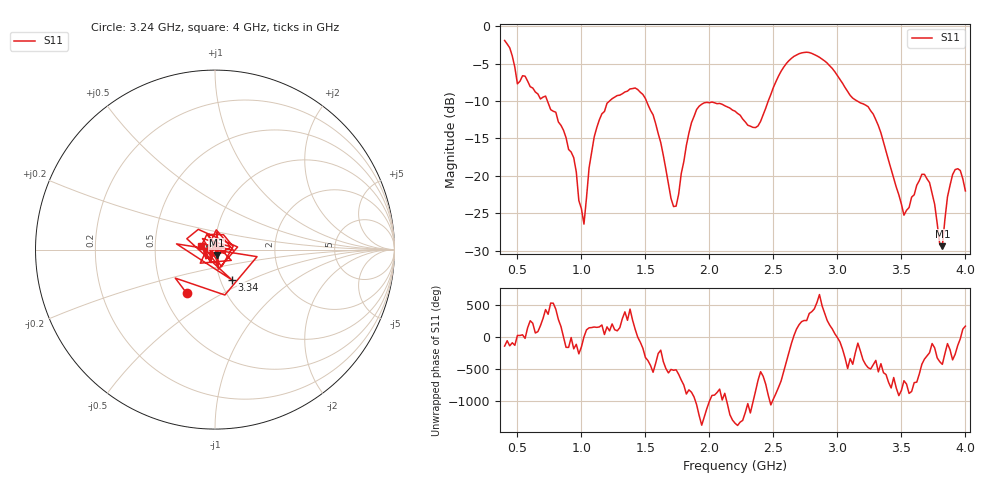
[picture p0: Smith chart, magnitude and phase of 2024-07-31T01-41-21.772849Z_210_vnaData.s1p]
!Created with skrf (http://scikit-rf.org).
# Hz S RI R 50.0
!freq ReS11 ImS11
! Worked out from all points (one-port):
!   181 points, 400 MHz to 4 GHz, reference 50 ohm
!   lowest |S11| = -29.4 dB at 3.82 GHz (marker M1), VSWR 1.07, Z = 51 - j3.28 ohm
!   |S11| at or under -10 dB: 734.7 MHz to 1.219 GHz (484.2 MHz wide, 49.6 % of centre); 1.508 GHz to 2.459 GHz (951.1 MHz wide, 47.9 % of centre); 3.156 GHz to end of sweep
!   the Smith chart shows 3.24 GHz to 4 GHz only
!   S11 on the Smith chart (normalised r, x): 3.24 GHz: 0.65, -0.35; 3.34 GHz: 1.13, -0.40; 4 GHz: 0.86, +0.04
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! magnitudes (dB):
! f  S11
! 400 MHz  -1.9
! 500 MHz  -7.7
! 720 MHz  -9.3
! 860 MHz  -13.9
! 940 MHz  -17.6
! 1.02 GHz  -26.4
! 1.06 GHz  -18.9
! 1.12 GHz  -13.5
! 1.3 GHz  -9.2
! 1.5 GHz  -9.7
! 1.62 GHz  -15.5
! 1.72 GHz  -24.1
! 1.76 GHz  -22.4
! 1.9 GHz  -11.1
! 2.2 GHz  -11.3
! 2.38 GHz  -13.3
! 2.66 GHz  -4.0
! 2.86 GHz  -4.1
! 3.1 GHz  -9.2
! 3.24 GHz  -10.7
! 3.34 GHz  -14.2
! 3.52 GHz  -25.3
! 3.56 GHz  -24.2
! 3.68 GHz  -19.8
! 3.82 GHz  -29.4
! 3.9 GHz  -19.8
! 3.96 GHz  -19.3
! 4 GHz  -22.0
